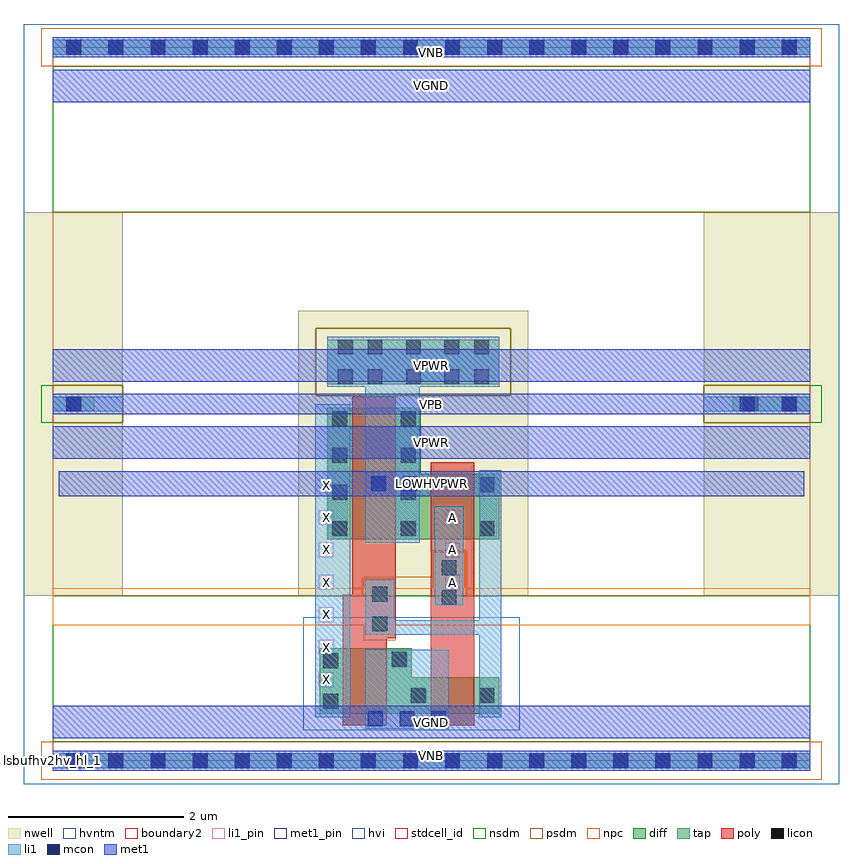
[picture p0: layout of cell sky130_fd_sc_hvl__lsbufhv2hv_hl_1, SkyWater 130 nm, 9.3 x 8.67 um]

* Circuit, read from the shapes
.subckt sky130_fd_sc_hvl__lsbufhv2hv_hl_1 A LOWHVPWR VGND VNB VPB VPWR X
XM1 VGND n1 X VNB sky130_fd_pr__nfet_g5v0d10v5 w=0.75 l=0.5
XM2 n1 A VGND VNB sky130_fd_pr__nfet_g5v0d10v5 w=0.42 l=0.5
XM3 LOWHVPWR n1 X LOWHVPWR sky130_fd_pr__pfet_g5v0d10v5 w=1.5 l=0.5
XM4 n1 A LOWHVPWR LOWHVPWR sky130_fd_pr__pfet_g5v0d10v5 w=0.75 l=0.5
.ends

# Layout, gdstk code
import gdstk
lib = gdstk.Library(unit=1e-6, precision=1e-09)
def R(c, l, rs):  # rectangles x0, y0, x1, y1
    for r in rs: c.add(gdstk.rectangle(r[:2], r[2:], *l))
def A(c, l, x, y, w, h, nx, ny, dx, dy):  # array of equal rectangles
    R(c, l, [(x+i*dx, y+j*dy, x+i*dx+w, y+j*dy+h) for i in range(nx) for j in range(ny)])
def P(c, l, *ps):  # polygons
    for p in ps: c.add(gdstk.Polygon(p, *l))
nwell = (64, 20)
diff = (65, 20)
tap = (65, 44)
poly = (66, 20)
licon = (66, 44)
li1_pin = (67, 16)
li1 = (67, 20)
mcon = (67, 44)
met1_pin = (68, 16)
met1 = (68, 20)
hvi = (75, 20)
stdcell_id = (81, 4)
nsdm = (93, 44)
psdm = (94, 20)
npc = (95, 20)
hvntm = (125, 20)
boundary2 = (236, 0)

sky130_fd_sc_hvl__lsbufh = lib.new_cell('sky130_fd_sc_hvl__lsbufhv2hv_hl_1')
R(sky130_fd_sc_hvl__lsbufh, nwell, [(-0.33,1.885,0.8,6.255), (2.8,1.885,5.425,5.135), (7.425,1.885,8.97,6.255)])
P(sky130_fd_sc_hvl__lsbufh, diff, [(5.095,0.955),(4.095,0.955),(4.095,1.285),(3.045,1.285),(3.045,0.535),(5.095,0.535)],
  [(5.095,3.275),(4.2,3.275),(4.2,4.025),(3.13,4.025),(3.13,2.525),(5.095,2.525)])
R(sky130_fd_sc_hvl__lsbufh, tap, [(0,-0.085,8.64,0.085), (0,3.985,0.47,4.155), (7.755,3.985,8.64,4.155), (3.13,4.295,5.095,4.805), (0,8.055,8.64,8.225)])
R(sky130_fd_sc_hvl__lsbufh, poly, [(4.31,0.405,4.81,3.405)])
P(sky130_fd_sc_hvl__lsbufh, poly, [(3.915,4.155),(3.415,4.155),(3.415,1.895),(3.31,1.895),(3.31,0.405),(3.81,0.405),(3.81,1.395),(3.915,1.395)])
A(sky130_fd_sc_hvl__lsbufh, licon, 0.155, -0.085, 0.17, 0.17, 18, 2, 0.48, 8.14)
R(sky130_fd_sc_hvl__lsbufh, licon, [(3.085,0.595,3.255,0.765), (4.085,0.66,4.255,0.83), (4.865,0.66,5.035,0.83), (3.085,1.055,3.255,1.225), (3.865,1.075,4.035,1.245), (3.645,1.475,3.815,1.645), (4.435,1.775,4.605,1.945), (3.645,1.815,3.815,1.985), (4.435,2.115,4.605,2.285), (3.19,2.565,3.36,2.735), (3.97,2.565,4.14,2.735), (4.865,2.565,5.035,2.735), (3.19,2.98,3.36,3.15), (3.97,2.98,4.14,3.15), (4.865,3.065,5.035,3.235), (3.19,3.4,3.36,3.57), (3.97,3.4,4.14,3.57), (3.19,3.815,3.36,3.985), (3.97,3.815,4.14,3.985), (0.155,3.985,0.325,4.155), (7.875,3.985,8.045,4.155), (8.315,3.985,8.485,4.155), (3.25,4.295,3.42,4.465), (3.59,4.295,3.76,4.465), (4.03,4.295,4.2,4.465), (4.465,4.295,4.635,4.465), (4.805,4.295,4.975,4.465), (3.25,4.635,3.42,4.805), (3.59,4.635,3.76,4.805), (4.03,4.635,4.2,4.805), (4.465,4.635,4.635,4.805), (4.805,4.635,4.975,4.805)])
A(sky130_fd_sc_hvl__lsbufh, li1_pin, 3.035, 0.84, 0.17, 0.17, 1, 7, 0, 0.37)
A(sky130_fd_sc_hvl__lsbufh, li1_pin, 4.475, 1.95, 0.17, 0.17, 1, 3, 0, 0.37)
R(sky130_fd_sc_hvl__lsbufh, li1, [(0,-0.085,8.64,0.085), (3.565,0.365,4.515,1.265), (2.995,0.495,3.395,4.065), (4.355,1.775,4.685,2.9), (0,3.985,0.8,4.155), (7.425,3.985,8.64,4.155), (0,8.055,8.64,8.225)])
P(sky130_fd_sc_hvl__lsbufh, li1, [(5.115,3.315),(4.865,3.315),(4.865,1.605),(3.895,1.605),(3.895,2.065),(3.565,2.065),(3.565,1.435),(4.865,1.435),(4.865,0.495),(5.115,0.495)],
  [(5.095,4.835),(3.13,4.835),(3.13,4.265),(3.565,4.265),(3.565,2.485),(4.185,2.485),(4.185,4.265),(5.095,4.265)])
A(sky130_fd_sc_hvl__lsbufh, mcon, 0.155, -0.085, 0.17, 0.17, 18, 2, 0.48, 8.14)
A(sky130_fd_sc_hvl__lsbufh, mcon, 3.595, 0.395, 0.17, 0.17, 3, 1, 0.36, 0)
R(sky130_fd_sc_hvl__lsbufh, mcon, [(3.63,3.075,3.8,3.245), (3.99,3.075,4.16,3.245), (0.155,3.985,0.325,4.155), (7.835,3.985,8.005,4.155), (8.315,3.985,8.485,4.155)])
R(sky130_fd_sc_hvl__lsbufh, met1_pin, [(0,0,8.64,0.115), (0,0.255,8.64,0.625), (0.07,3.02,8.57,3.305), (0,3.445,8.64,3.815), (0,3.955,8.64,4.185), (0,4.325,8.64,4.695), (0,7.515,8.64,7.885), (0,8.025,8.64,8.14)])
A(sky130_fd_sc_hvl__lsbufh, met1, 0, -0.115, 8.64, 0.23, 1, 3, 0, 4.07)
R(sky130_fd_sc_hvl__lsbufh, met1, [(0,0.255,8.64,0.625), (0.07,3.02,8.57,3.305), (0,3.445,8.64,3.815), (0,4.325,8.64,4.695), (0,7.515,8.64,7.885)])
R(sky130_fd_sc_hvl__lsbufh, hvi, [(-0.33,-0.265,8.97,8.405)])
R(sky130_fd_sc_hvl__lsbufh, stdcell_id, [(0,0,8.64,8.14)])
R(sky130_fd_sc_hvl__lsbufh, nsdm, [(0,0.215,8.64,1.885), (2.89,0.215,5.29,1.885), (-0.13,3.855,0.8,4.285), (7.425,3.855,8.77,4.285), (3,4.165,5.225,4.935), (0,6.255,8.64,7.925)])
R(sky130_fd_sc_hvl__lsbufh, psdm, [(-0.13,-0.215,8.77,0.215), (-0.13,7.925,8.77,8.355)])
P(sky130_fd_sc_hvl__lsbufh, psdm, [(8.64,3.855),(7.425,3.855),(7.425,4.285),(8.64,4.285),(8.64,6.255),(5.225,6.255),(5.225,4.165),(3,4.165),(3,4.935),(5.225,4.935),(5.225,6.255),(0,6.255),(0,4.285),(0.8,4.285),(0.8,3.855),(0,3.855),(0,1.885),(3.535,1.885),(3.535,2.095),(4.325,2.095),(4.325,2.395),(4.715,2.395),(4.715,1.885),(8.64,1.885)])
P(sky130_fd_sc_hvl__lsbufh, npc, [(8.64,1.97),(4.705,1.97),(4.705,2.385),(4.335,2.385),(4.335,1.97),(3.915,1.97),(3.915,2.085),(3.545,2.085),(3.545,1.97),(0,1.97),(0,1.545),(3.545,1.545),(3.545,1.375),(3.915,1.375),(3.915,1.545),(8.64,1.545)])
R(sky130_fd_sc_hvl__lsbufh, hvntm, [(2.855,0.35,5.325,1.64)])
R(sky130_fd_sc_hvl__lsbufh, boundary2, [(0,0,8.64,8.14)])
sky130_fd_sc_hvl__lsbufh.add(gdstk.Label('X', (3.12,2.775), layer=67, texttype=5))
sky130_fd_sc_hvl__lsbufh.add(gdstk.Label('A', (4.56,2.775), layer=67, texttype=5))
sky130_fd_sc_hvl__lsbufh.add(gdstk.Label('X', (3.12,2.405), layer=67, texttype=5))
sky130_fd_sc_hvl__lsbufh.add(gdstk.Label('X', (3.12,2.035), layer=67, texttype=5))
sky130_fd_sc_hvl__lsbufh.add(gdstk.Label('A', (4.56,2.405), layer=67, texttype=5))
sky130_fd_sc_hvl__lsbufh.add(gdstk.Label('X', (3.12,1.665), layer=67, texttype=5))
sky130_fd_sc_hvl__lsbufh.add(gdstk.Label('X', (3.12,1.295), layer=67, texttype=5))
sky130_fd_sc_hvl__lsbufh.add(gdstk.Label('X', (3.12,3.145), layer=67, texttype=5))
sky130_fd_sc_hvl__lsbufh.add(gdstk.Label('A', (4.56,2.035), layer=67, texttype=5))
sky130_fd_sc_hvl__lsbufh.add(gdstk.Label('X', (3.12,0.925), layer=67, texttype=5))
sky130_fd_sc_hvl__lsbufh.add(gdstk.Label('lsbufhv2hv_hl_1', (0,0), layer=83, texttype=44))
sky130_fd_sc_hvl__lsbufh.add(gdstk.Label('VPWR', (4.32,3.63), layer=68, texttype=5))
sky130_fd_sc_hvl__lsbufh.add(gdstk.Label('VPWR', (4.32,4.51), layer=68, texttype=5))
sky130_fd_sc_hvl__lsbufh.add(gdstk.Label('VGND', (4.32,7.7), layer=68, texttype=5))
sky130_fd_sc_hvl__lsbufh.add(gdstk.Label('VGND', (4.32,0.44), layer=68, texttype=5))
sky130_fd_sc_hvl__lsbufh.add(gdstk.Label('VNB', (4.32,0.058), layer=68, texttype=5))
sky130_fd_sc_hvl__lsbufh.add(gdstk.Label('LOWHVPWR', (4.32,3.165), layer=68, texttype=5))
sky130_fd_sc_hvl__lsbufh.add(gdstk.Label('VPB', (4.32,4.068), layer=68, texttype=5))
sky130_fd_sc_hvl__lsbufh.add(gdstk.Label('VNB', (4.32,8.082), layer=68, texttype=5))

lib.write_gds('sky130_fd_sc_hvl__lsbufhv2hv_hl_1.gds')
